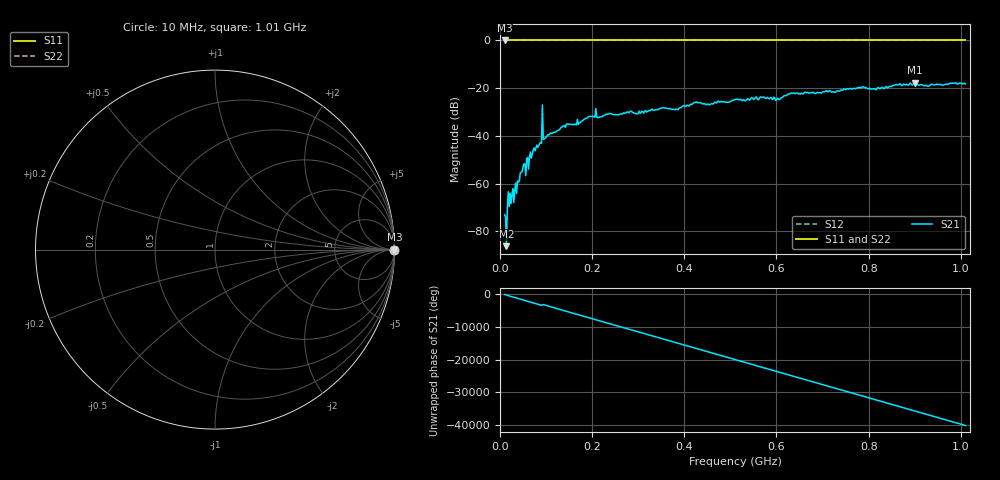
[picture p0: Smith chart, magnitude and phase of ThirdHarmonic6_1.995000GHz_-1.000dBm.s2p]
! 8/16/2025 11:58:38 PM
! C:\ANRITSUVNA\TEMP\TEMP.S2P
! CHANNEL.1
! TR.MEASUREMENT
! RAW.DATA
! RF.CORRECTION.OFF
! AVERAGING.OFF
! IF.BANDWIDTH: 5KHZ
! SWEEPTYPE:  FREQ.SWEEP(Linear)
! Reference Plane Port Info
! PORT:  PORT1  PORT2
! DISTANCE:  0  m  0  m
! TIME:  0  s  0  s
! PHASE.OFFSET:  0  deg.  0  deg.
! LOSS:  0  dB  0  dB
! REF.LOSS:  0  dB  0  dB
! REF.FREQ:  0  Hz  0  Hz
! Power Info
! POWER:  -20  dBm  -20  dBm
! EFF.POWER:  -20  dBm  -20  dBm
! SOURCE.ATTEN:  0  dB  0  dB
! TEST.ATTEN:  0  dB  0  dB
# GHZ S RI R 50.0
! FREQ.GHZ  S11RE  S11IM  S21RE  S21IM  S12RE  S12IM  S22RE  S22IM
!; PortSelection: Port_12
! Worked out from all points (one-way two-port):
!   501 points, 10 MHz to 1.01 GHz, reference 50 ohm
!   highest |S21| = -17.74 dB at 900 MHz (marker M1); lowest = -86.3 dB at 14 MHz (marker M2)
!   lowest |S11| = 0.0 dB at 10 MHz (marker M3)
!   |S11| at or under -10 dB: nowhere
!   |S22| runs from 0.0 to 0.0 dB; largest |S21 - S12| = 1.1
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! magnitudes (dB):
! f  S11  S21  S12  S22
! 10 MHz  0.0  -73.1  0.0  0.0
! 14 MHz  0.0  -86.3  0.0  0.0
! 22 MHz  0.0  -64.0  0.0  0.0
! 34 MHz  0.0  -59.8  0.0  0.0
! 48 MHz  0.0  -55.0  0.0  0.0
! 76 MHz  0.0  -46.3  0.0  0.0
! 86 MHz  0.0  -43.2  0.0  0.0
! 88 MHz  0.0  -42.9  0.0  0.0
! 90 MHz  0.0  -43.2  0.0  0.0
! 96 MHz  0.0  -41.2  0.0  0.0
! 98 MHz  0.0  -41.1  0.0  0.0
! 136 MHz  0.0  -36.1  0.0  0.0
! 178 MHz  0.0  -33.8  0.0  0.0
! 204 MHz  0.0  -32.1  0.0  0.0
! 344 MHz  0.0  -29.0  0.0  0.0
! 510 MHz  0.0  -24.8  0.0  0.0
! 602 MHz  0.0  -24.3  0.0  0.0
! 634 MHz  0.0  -22.1  0.0  0.0
! 678 MHz  0.0  -21.9  0.0  0.0
! 844 MHz  0.0  -19.4  0.0  0.0
! 900 MHz  0.0  -17.7  0.0  0.0
! 1.01 GHz  0.0  -18.2  0.0  0.0
